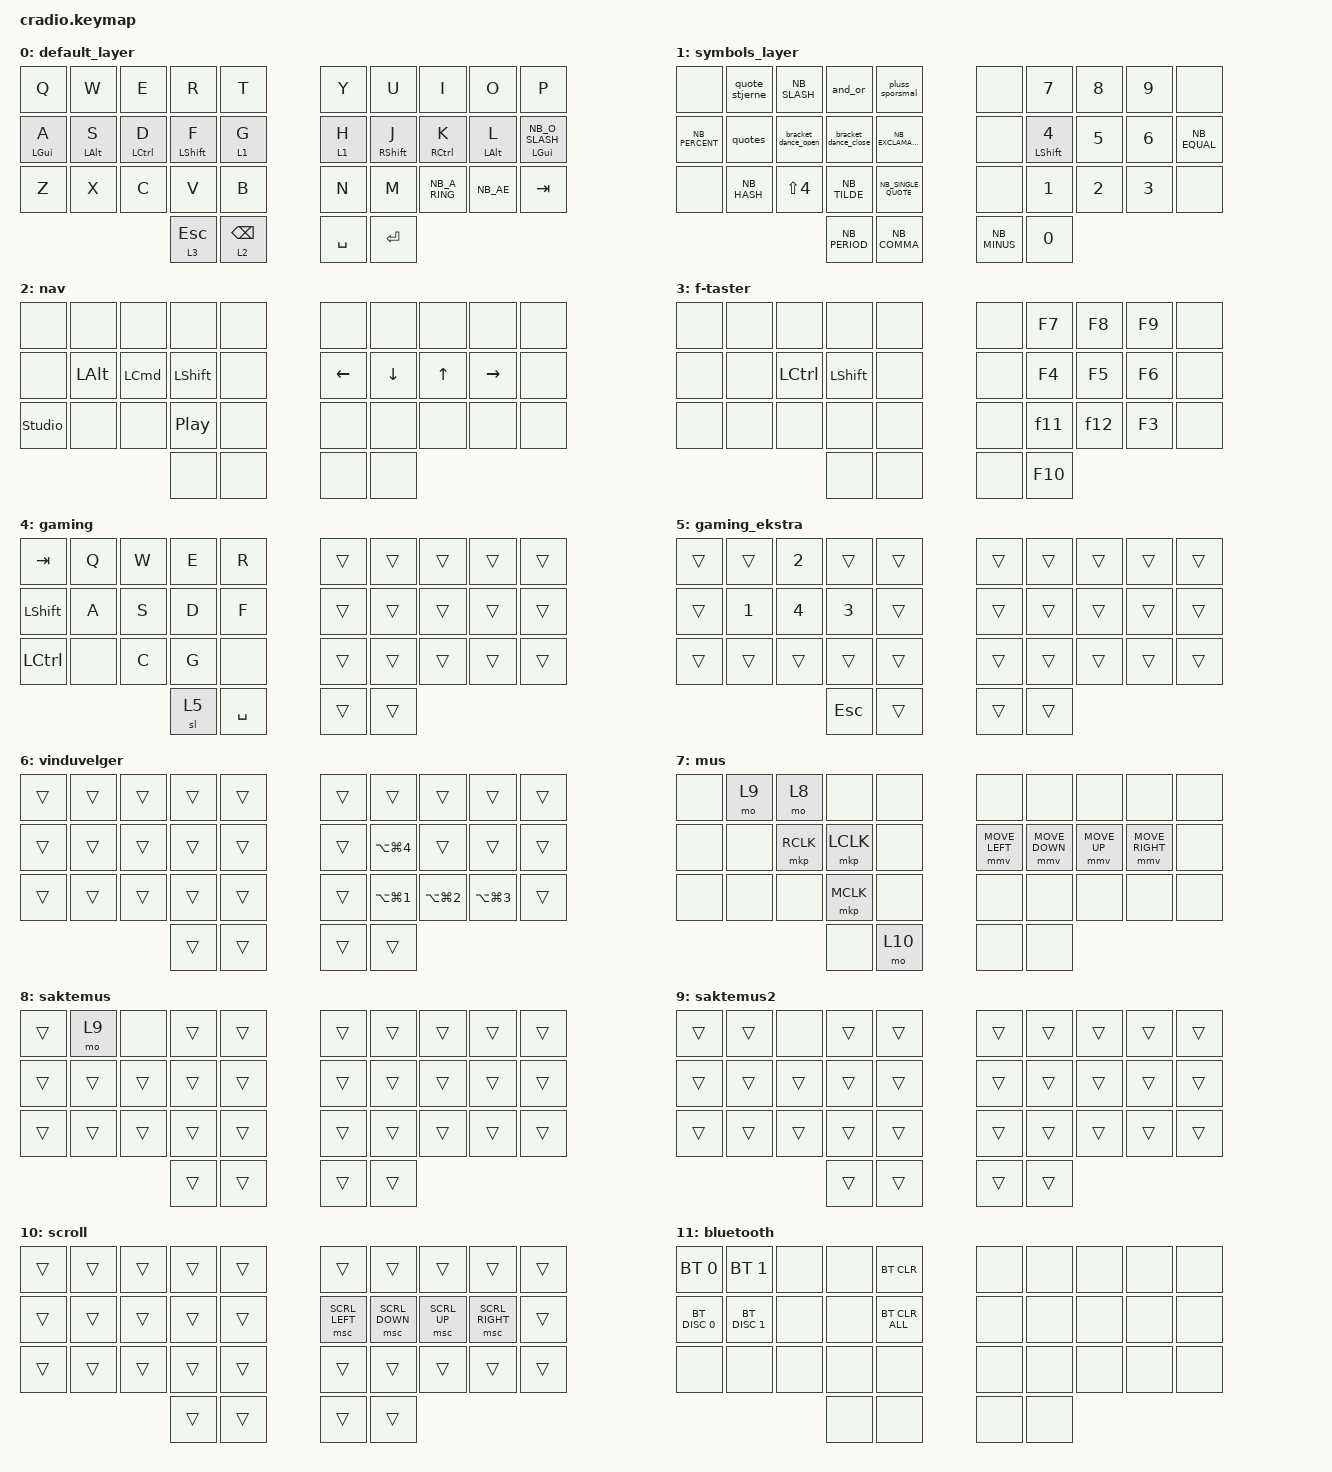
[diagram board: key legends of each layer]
/*
 * Copyright (c) 2020 The ZMK Contributors
 *
 * SPDX-License-Identifier: MIT
 */

#define ZMK_BEHAVIORS_KEEP_ALL
#define ZMK_POINTING_DEFAULT_MOVE_VAL 3000  // default: 600
#define ZMK_POINTING_DEFAULT_SCRL_VAL 20    // default: 10

#include <input/processors.dtsi>
#include <locale/keys_nb.h>
#include "keys_nb.h"
#include <behaviors.dtsi>
#include <dt-bindings/zmk/bt.h>
#include <dt-bindings/zmk/keys.h>
#include <dt-bindings/zmk/pointing.h>

#define NAV_L 1
#define OTHER_L 2
#define NUM_L 3
#define SYM_L 4

// Using layer taps on thumbs, having quick tap as well helps w/ repeating space/backspace

&lt { quick-tap-ms = <200>; };

/* FIXED: Correct syntax for layer-specific overrides via nested child nodes */

&mmv_input_listener {
    slow_move {
        layers = <8>;
        input-processors = <&zip_xy_scaler 1 4>; // Multiplier 1, Divisor 3 (~33% speed)
    };

    slow_move2 {
        layers = <9>;
        input-processors = <&zip_xy_scaler 1 10>; // Multiplier 1, Divisor 3 (~33% speed)
    };
};

&mmv {
    time-to-max-speed-ms = <0>;
    acceleration-exponent = <0>;
};

&msc {
    time-to-max-speed-ms = <0>;
    acceleration-exponent = <0>;
};

/ {
    behaviors {
        hm: homerow_mods {
            compatible = "zmk,behavior-hold-tap";
            #binding-cells = <2>;
            tapping-term-ms = <200>;
            quick-tap-ms = <200>;
            flavor = "tap-preferred";
            bindings = <&kp>, <&kp>;
        };

        layer_and_press: layer_and_press {
            compatible = "zmk,behavior-hold-tap";
            label = "LAYER_AND_PRESS";
            bindings = <&mo>, <&kp>;

            #binding-cells = <2>;
            tapping-term-ms = <100>;
            flavor = "balanced";
            hold-while-undecided;
        };

        bracket_dance_open: bracket_dance_open {
            compatible = "zmk,behavior-tap-dance";
            label = "BRACKET_DANCE_OPEN";
            #binding-cells = <0>;
            bindings =
                <&hm LESS_THAN NB_LEFT_PARENTHESIS>,
                <&hm NB_LEFT_BRACKET LS(NB_LEFT_BRACKET)>;
        };

        bracket_dance_close: bracket_dance_close {
            compatible = "zmk,behavior-tap-dance";
            label = "BRACKET_DANCE_CLOSE";
            #binding-cells = <0>;
            bindings =
                <&hm GREATER_THAN NB_RIGHT_PARENTHESIS>,
                <&hm NB_RIGHT_BRACKET LS(LA(N9))>;
        };

        pluss_sporsmal: pluss_sporsmal {
            compatible = "zmk,behavior-tap-dance";
            label = "PLUSS_SPORSMAL";
            #binding-cells = <0>;
            bindings = <&kp NB_PLUS>, <&kp NB_QUESTION>;
        };

        quote_stjerne: quote_stjerne {
            compatible = "zmk,behavior-tap-dance";
            label = "QUOTE_STJERNE";
            #binding-cells = <0>;
            bindings = <&kp NB_LT>, <&kp NB_ASTERISK>;
        };

        and_or: and_or {
            compatible = "zmk,behavior-tap-dance";
            label = "AND_OR";
            #binding-cells = <0>;
            bindings = <&kp NB_AMPERSAND>, <&kp NB_LEFT_BRACE>;
        };

        f11: f11 {
            compatible = "zmk,behavior-tap-dance";
            label = "F11";
            #binding-cells = <0>;
            bindings = <&kp F1>, <&kp F11>;
        };

        f12: f12 {
            compatible = "zmk,behavior-tap-dance";
            label = "F12";
            #binding-cells = <0>;
            bindings = <&kp F2>, <&kp F12>;
        };

        momkp: momkp {
            compatible = "zmk,behavior-hold-tap";
            label = "MOMKP";
            bindings = <&mo>, <&mkp>;

            #binding-cells = <2>;
            tapping-term-ms = <100>;
        };

        quotes: quotes {
            compatible = "zmk,behavior-tap-dance";
            label = "QUOTES";
            #binding-cells = <0>;
            bindings = <&kp NB_DOUBLE_QUOTES>, <&kp NB_SINGLE_QUOTE>;
        };
    };

    combos {
        compatible = "zmk,combos";

        caps_word_combo {
            bindings = <&caps_word>;
            key-positions = <13 16>; // F + J (both shift homerow keys)
            timeout-ms = <50>;
        };

        gzming {
            bindings = <&tog 4>;
            key-positions = <9 29 0 20>;
        };

        bluetooth {
            bindings = <&tog 11>;
            key-positions = <20 24 25 29>;
        };

        vinduvelger {
            bindings = <&sl 6>;
            key-positions = <1 2>;
        };

        mus {
            bindings = <&to 7>;
            key-positions = <21 22>;
        };

        normal {
            bindings = <&to 0>;
            key-positions = <27 28>;
        };
    };

    keymap {
        compatible = "zmk,keymap";

        default_layer {
            bindings = <
&kp Q       &kp W       &kp E        &kp R        &kp T              &kp Y                 &kp U        &kp I          &kp O       &kp P
&hm LGUI A  &hm LALT S  &hm LCTRL D  &hm LSHFT F  &lt 1 G            &layer_and_press 1 H  &hm RSHFT J  &hm RCTRL K    &hm LALT L  &hm LGUI NB_O_SLASH
&kp Z       &kp X       &kp C        &kp V        &kp B              &kp N                 &kp M        &kp NB_A_RING  &kp NB_AE   &kp TAB
                                     &lt 3 ESC    &lt 2 BACKSPACE    &kp SPACE             &kp ENTER
            >;
        };

        symbols_layer {
            bindings = <
&none           &quote_stjerne  &kp NB_SLASH         &and_or               &pluss_sporsmal        &none         &kp N7                   &kp N8        &kp N9        &none
&kp NB_PERCENT  &quotes         &bracket_dance_open  &bracket_dance_close  &kp NB_EXCLAMATION     &none         &mt LEFT_SHIFT NUMBER_4  &kp N5        &kp NUMBER_6  &kp NB_EQUAL
&none           &kp NB_HASH     &kp LS(N4)           &kp NB_TILDE          &kp NB_SINGLE_QUOTE    &none         &kp NUMBER_1             &kp NUMBER_2  &kp NUMBER_3  &none
                                                     &kp NB_PERIOD         &kp NB_COMMA           &kp NB_MINUS  &kp N0
            >;
        };

        nav {
            bindings = <
&none           &none         &none             &none             &none    &none           &none           &none         &none      &none
&none           &kp LEFT_ALT  &kp LEFT_COMMAND  &kp LEFT_SHIFT    &none    &kp LEFT_ARROW  &kp DOWN_ARROW  &kp UP_ARROW  &kp RIGHT  &none
&studio_unlock  &none         &none             &kp C_PLAY_PAUSE  &none    &none           &none           &none         &none      &none
                                                &none             &none    &none           &none
            >;
        };

        f-taster {
            bindings = <
&none  &none  &none      &none      &none    &none  &kp F7   &kp F8  &kp F9  &none
&none  &none  &kp LCTRL  &kp LSHFT  &none    &none  &kp F4   &kp F5  &kp F6  &none
&none  &none  &none      &none      &none    &none  &f11     &f12    &kp F3  &none
                         &none      &none    &none  &kp F10
            >;
        };

        gaming {
            bindings = <
&kp TAB     &kp Q  &kp W  &kp E  &kp R        &trans  &trans  &trans  &trans  &trans
&kp LSHIFT  &kp A  &kp S  &kp D  &kp F        &trans  &trans  &trans  &trans  &trans
&kp LCTRL   &none  &kp C  &kp G  &none        &trans  &trans  &trans  &trans  &trans
                          &sl 5  &kp SPACE    &trans  &trans
            >;
        };

        gaming_ekstra {
            bindings = <
&trans  &trans  &kp NUMBER_2  &trans        &trans    &trans  &trans  &trans  &trans  &trans
&trans  &kp N1  &kp NUMBER_4  &kp NUMBER_3  &trans    &trans  &trans  &trans  &trans  &trans
&trans  &trans  &trans        &trans        &trans    &trans  &trans  &trans  &trans  &trans
                              &kp ESC       &trans    &trans  &trans
            >;
        };

        vinduvelger {
            bindings = <
&trans  &trans  &trans  &trans  &trans    &trans  &trans                &trans                &trans                &trans
&trans  &trans  &trans  &trans  &trans    &trans  &kp LA(LG(NUMBER_4))  &trans                &trans                &trans
&trans  &trans  &trans  &trans  &trans    &trans  &kp LA(LG(N1))        &kp LA(LG(NUMBER_2))  &kp LA(LG(NUMBER_3))  &trans
                        &trans  &trans    &trans  &trans
            >;
        };

        mus {
            bindings = <
&none  &mo 9  &mo 8      &none      &none     &none           &none           &none         &none            &none
&none  &none  &mkp RCLK  &mkp LCLK  &none     &mmv MOVE_LEFT  &mmv MOVE_DOWN  &mmv MOVE_UP  &mmv MOVE_RIGHT  &none
&none  &none  &none      &mkp MCLK  &none     &none           &none           &none         &none            &none
                         &none      &mo 10    &none           &none
            >;
        };

        saktemus {
            bindings = <
&trans  &mo 9   &none   &trans  &trans    &trans  &trans  &trans  &trans  &trans
&trans  &trans  &trans  &trans  &trans    &trans  &trans  &trans  &trans  &trans
&trans  &trans  &trans  &trans  &trans    &trans  &trans  &trans  &trans  &trans
                        &trans  &trans    &trans  &trans
            >;
        };

        saktemus2 {
            bindings = <
&trans  &trans  &none   &trans  &trans    &trans  &trans  &trans  &trans  &trans
&trans  &trans  &trans  &trans  &trans    &trans  &trans  &trans  &trans  &trans
&trans  &trans  &trans  &trans  &trans    &trans  &trans  &trans  &trans  &trans
                        &trans  &trans    &trans  &trans
            >;
        };

        scroll {
            bindings = <
&trans  &trans  &trans  &trans  &trans    &trans          &trans          &trans        &trans           &trans
&trans  &trans  &trans  &trans  &trans    &msc SCRL_LEFT  &msc SCRL_DOWN  &msc SCRL_UP  &msc SCRL_RIGHT  &trans
&trans  &trans  &trans  &trans  &trans    &trans          &trans          &trans        &trans           &trans
                        &trans  &trans    &trans          &trans
            >;
        };

        bluetooth {
            bindings = <
&bt BT_SEL 0   &bt BT_SEL 1   &none  &none  &bt BT_CLR        &none  &none  &none  &none  &none
&bt BT_DISC 0  &bt BT_DISC 1  &none  &none  &bt BT_CLR_ALL    &none  &none  &none  &none  &none
&none          &none          &none  &none  &none             &none  &none  &none  &none  &none
                                     &none  &none             &none  &none
            >;
        };
    };

    conditional_layers { compatible = "zmk,conditional-layers"; };
};
